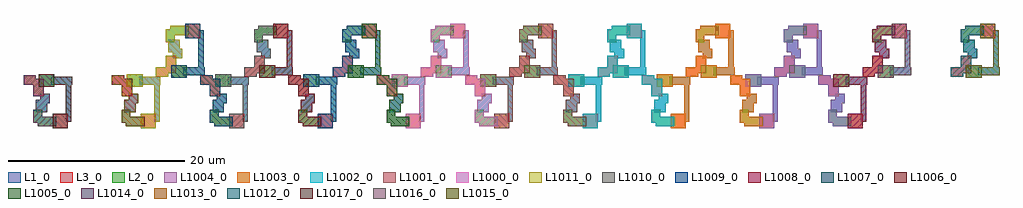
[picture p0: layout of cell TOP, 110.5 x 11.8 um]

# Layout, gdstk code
from math import pi, radians
import gdstk
lib = gdstk.Library(unit=1e-6, precision=1e-09)
def R(c, l, rs):  # rectangles x0, y0, x1, y1
    for r in rs: c.add(gdstk.rectangle(r[:2], r[2:], *l))
L1_0 = (1, 0)
L2_0 = (2, 0)
L3_0 = (3, 0)
L1000_0 = (1000, 0)
L1001_0 = (1001, 0)
L1002_0 = (1002, 0)
L1003_0 = (1003, 0)
L1004_0 = (1004, 0)
L1005_0 = (1005, 0)
L1006_0 = (1006, 0)
L1007_0 = (1007, 0)
L1008_0 = (1008, 0)
L1009_0 = (1009, 0)
L1010_0 = (1010, 0)
L1011_0 = (1011, 0)
L1012_0 = (1012, 0)
L1013_0 = (1013, 0)
L1014_0 = (1014, 0)
L1015_0 = (1015, 0)
L1016_0 = (1016, 0)
L1017_0 = (1017, 0)

c_c1 = lib.new_cell('C1')
R(c_c1, L1_0, [(-2.7,-3.3,-1.8,-0.9), (-2.1,-3.2,2.4,-2.6), (-0.8,-0.8,0.3,0.3), (-0.1,-0.5,1.3,0.8)])
R(c_c1, L2_0, [(1.8,-1.5,2.9,0.6), (-3,-1.3,-1.6,0.5), (1,0.1,2.5,1.1)])
R(c_c1, L3_0, [(1.5,-2.8,3.1,-1.1), (-2.5,-0.1,-0.5,1.1), (-2.9,0.8,-1.8,2.2)])

conn = lib.new_cell('CONN')
R(conn, L1_0, [(0,0,0.2,0.4)])

top = lib.new_cell('TOP')
R(top, L1000_0, [(25.2,-5.2,26.9,-3.6), (33.5,-5,35.6,-3.9), (33,-4.6,34,-3.1), (26.7,-4.5,27.3,0), (33.3,-3.4,34.6,-2), (33.8,-2.4,34.9,-1.3), (33,-1.6,34.2,0.4), (23.6,-0.5,25.4,0.9), (25,-0.3,27.4,0.6), (31.9,-0.3,33.3,0.8), (28.6,0.5,30.4,1.9), (26.9,0.6,28.3,1.7), (30,0.8,32.4,1.7), (28,1,29.2,3), (31.7,1.4,32.3,5.9), (28.8,2.7,29.9,3.8), (28.3,3.4,29.6,4.8), (28,4.5,29,6), (30.2,5,31.9,6.6), (28.5,5.3,30.6,6.4), (30.3,5.8,30.5,6.2)])
R(top, L1001_0, [(35.2,-5.2,36.9,-3.6), (43.5,-5,45.6,-3.9), (43,-4.6,44,-3.1), (36.7,-4.5,37.3,0), (43.3,-3.4,44.6,-2), (43.8,-2.4,44.9,-1.3), (43,-1.6,44.2,0.4), (33.6,-0.5,35.4,0.9), (35,-0.3,37.4,0.6), (41.9,-0.3,43.3,0.8), (38.6,0.5,40.4,1.9), (36.9,0.6,38.3,1.7), (40,0.8,42.4,1.7), (38,1,39.2,3), (41.7,1.4,42.3,5.9), (38.8,2.7,39.9,3.8), (38.3,3.4,39.6,4.8), (38,4.5,39,6), (40.2,5,41.9,6.6), (38.5,5.3,40.6,6.4), (40.3,5.8,40.5,6.2)])
R(top, L1002_0, [(45.2,-5.2,46.9,-3.6), (53.5,-5,55.6,-3.9), (53,-4.6,54,-3.1), (46.7,-4.5,47.3,0), (53.3,-3.4,54.6,-2), (53.8,-2.4,54.9,-1.3), (53,-1.6,54.2,0.4), (43.6,-0.5,45.4,0.9), (45,-0.3,47.4,0.6), (51.9,-0.3,53.3,0.8), (48.6,0.5,50.4,1.9), (46.9,0.6,48.3,1.7), (50,0.8,52.4,1.7), (48,1,49.2,3), (51.7,1.4,52.3,5.9), (48.8,2.7,49.9,3.8), (48.3,3.4,49.6,4.8), (48,4.5,49,6), (50.2,5,51.9,6.6), (48.5,5.3,50.6,6.4), (50.3,5.8,50.5,6.2)])
R(top, L1003_0, [(55.2,-5.2,56.9,-3.6), (63.5,-5,65.6,-3.9), (63,-4.6,64,-3.1), (56.7,-4.5,57.3,0), (63.3,-3.4,64.6,-2), (63.8,-2.4,64.9,-1.3), (63,-1.6,64.2,0.4), (53.6,-0.5,55.4,0.9), (55,-0.3,57.4,0.6), (61.9,-0.3,63.3,0.8), (58.6,0.5,60.4,1.9), (56.9,0.6,58.3,1.7), (60,0.8,62.4,1.7), (58,1,59.2,3), (61.7,1.4,62.3,5.9), (58.8,2.7,59.9,3.8), (58.3,3.4,59.6,4.8), (58,4.5,59,6), (60.2,5,61.9,6.6), (58.5,5.3,60.6,6.4), (60.3,5.8,60.5,6.2)])
R(top, L1004_0, [(65.2,-5.2,66.9,-3.6), (73.5,-5,75.6,-3.9), (73,-4.6,74,-3.1), (66.7,-4.5,67.3,0), (73.3,-3.4,74.6,-2), (73.8,-2.4,74.9,-1.3), (73,-1.6,74.2,0.4), (63.6,-0.5,65.4,0.9), (65,-0.3,67.4,0.6), (71.9,-0.3,73.3,0.8), (68.6,0.5,70.4,1.9), (66.9,0.6,68.3,1.7), (70,0.8,72.4,1.7), (68,1,69.2,3), (71.7,1.4,72.3,5.9), (68.8,2.7,69.9,3.8), (68.3,3.4,69.6,4.8), (68,4.5,69,6), (70.2,5,71.9,6.6), (68.5,5.3,70.6,6.4), (70.3,5.8,70.5,6.2)])
R(top, L1005_0, [(23.5,-5,25.6,-3.9), (23,-4.6,24,-3.1), (23.3,-3.4,24.6,-2), (23.8,-2.4,24.9,-1.3), (23,-1.6,24.2,0.4), (21.9,-0.3,23.3,0.8), (18.6,0.5,20.4,1.9), (20,0.8,22.4,1.7), (21.7,1.4,22.3,5.9), (20.2,5,21.9,6.6)])
R(top, L1006_0, [(13.5,-5,15.6,-3.9), (13,-4.6,14,-3.1), (13.3,-3.4,14.6,-2), (13.8,-2.4,14.9,-1.3), (13,-1.6,14.2,0.4), (11.9,-0.3,13.3,0.8), (8.6,0.5,10.4,1.9), (10,0.8,12.4,1.7), (11.7,1.4,12.3,5.9), (10.2,5,11.9,6.6)])
R(top, L1007_0, [(3.5,-5,5.6,-3.9), (3,-4.6,4,-3.1), (3.3,-3.4,4.6,-2), (3.8,-2.4,4.9,-1.3), (3,-1.6,4.2,0.4), (1.9,-0.3,3.3,0.8), (-1.4,0.5,0.4,1.9), (0,0.8,2.4,1.7), (1.7,1.4,2.3,5.9), (0.2,5,1.9,6.6)])
R(top, L1008_0, [(75.2,-5.2,76.9,-3.6), (76.7,-4.5,77.3,0), (73.6,-0.5,75.4,0.9), (75,-0.3,77.4,0.6), (76.9,0.6,78.3,1.7), (78,1,79.2,3), (78.8,2.7,79.9,3.8), (78.3,3.4,79.6,4.8), (78,4.5,79,6), (78.5,5.3,80.6,6.4)])
R(top, L1009_0, [(15.2,-5.2,16.9,-3.6), (16.7,-4.5,17.3,0), (13.6,-0.5,15.4,0.9), (15,-0.3,17.4,0.6), (16.9,0.6,18.3,1.7), (18,1,19.2,3), (18.8,2.7,19.9,3.8), (18.3,3.4,19.6,4.8), (18,4.5,19,6), (18.5,5.3,20.6,6.4)])
R(top, L1010_0, [(5.2,-5.2,6.9,-3.6), (6.7,-4.5,7.3,0), (3.6,-0.5,5.4,0.9), (5,-0.3,7.4,0.6), (6.9,0.6,8.3,1.7), (8,1,9.2,3), (8.8,2.7,9.9,3.8), (8.3,3.4,9.6,4.8), (8,4.5,9,6), (8.5,5.3,10.6,6.4)])
R(top, L1011_0, [(-4.8,-5.2,-3.1,-3.6), (-3.3,-4.5,-2.7,0), (-6.4,-0.5,-4.6,0.9), (-5,-0.3,-2.6,0.6), (-3.1,0.6,-1.7,1.7), (-2,1,-0.8,3), (-1.2,2.7,-0.1,3.8), (-1.7,3.4,-0.4,4.8), (-2,4.5,-1,6), (-1.5,5.3,0.6,6.4)])
R(top, L1012_0, [(86.9,0.6,88.3,1.7), (88,1,89.2,3), (88.8,2.7,89.9,3.8), (88.3,3.4,89.6,4.8), (88,4.5,89,6), (88.5,5.3,90.6,6.4)])
R(top, L1013_0, [(-6.5,-5,-4.4,-3.9), (-7,-4.6,-6,-3.1), (-6.7,-3.4,-5.4,-2), (-6.2,-2.4,-5.1,-1.3), (-7,-1.6,-5.8,0.4), (-8.1,-0.3,-6.7,0.8)])
R(top, L1014_0, [(-16.5,-5,-14.4,-3.9), (-17,-4.6,-16,-3.1), (-16.7,-3.4,-15.4,-2), (-16.2,-2.4,-15.1,-1.3), (-17,-1.6,-15.8,0.4), (-18.1,-0.3,-16.7,0.8)])
R(top, L1015_0, [(88.6,0.5,90.4,1.9), (90,0.8,92.4,1.7), (91.7,1.4,92.3,5.9), (90.2,5,91.9,6.6)])
R(top, L1016_0, [(78.6,0.5,80.4,1.9), (80,0.8,82.4,1.7), (81.7,1.4,82.3,5.9), (80.2,5,81.9,6.6)])
R(top, L1017_0, [(-14.8,-5.2,-13.1,-3.6), (-13.3,-4.5,-12.7,0), (-16.4,-0.5,-14.6,0.9), (-15,-0.3,-12.6,0.6)])
r = gdstk.Reference(c_c1, (89.1,3.5), rotation=pi/2); r.repetition = gdstk.Repetition(1, 10, v1=(0,0), v2=(-10,0)); top.add(r)
r = gdstk.Reference(c_c1, (74.1,-2.1), rotation=3*pi/2, x_reflection=True); r.repetition = gdstk.Repetition(1, 10, v1=(0,0), v2=(-10,0)); top.add(r)
r = gdstk.Reference(conn, (30.3,5.8)); r.repetition = gdstk.Repetition(5, 1, v1=(10,0), v2=(0,0)); top.add(r)

lib.write_gds('TOP.gds')
